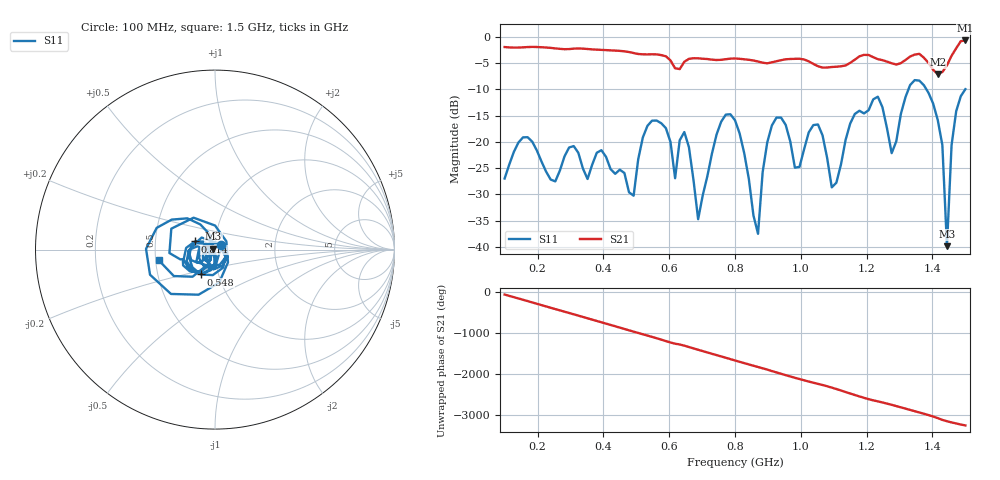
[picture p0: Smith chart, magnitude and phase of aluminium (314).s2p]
! NanoVNA-App
! Date: 2025-09-25 14:57:43
! Start: 100MHz Stop: 1,5GHz Points: 101
! S-Parameter data: F S11 S21 S12 S22
# Hz S RI R 50
!  Frequency  S11_Real  S11_Imag  S21_Real  S21_Imag  S12_Real  S12_Imag  S22_Real  S22_Imag
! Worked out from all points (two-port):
!   101 points, 100 MHz to 1.5 GHz, reference 50 ohm
!   highest |S21| = -0.67 dB at 1.5 GHz (marker M1); lowest = -7.1 dB at 1.416 GHz (marker M2)
!   |S21| within 3 dB of the highest: start of sweep to 588.9 MHz; 1.457 GHz to end of sweep (the widest 2 of 4)
!   lowest |S11| = -39.8 dB at 1.444 GHz (marker M3), VSWR 1.02, Z = 49.2 + j0.555 ohm
!   |S11| at or under -10 dB: start of sweep to 1.327 GHz; 1.382 GHz to 1.499 GHz (117.7 MHz wide, 8.17 % of centre)
!   S12 and S22 are empty: the file has one direction only
!   S11 on the Smith chart (normalised r, x): 100 MHz: 1.07, +0.06; 548 MHz: 0.82, -0.23; 814 MHz: 0.80, +0.07; 1.5 GHz: 0.52, -0.07
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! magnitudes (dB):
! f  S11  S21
! 100 MHz  -27.0  -1.9
! 338 MHz  -25.1  -2.2
! 492 MHz  -30.2  -3.1
! 548 MHz  -15.9  -3.3
! 576 MHz  -16.4  -3.5
! 618 MHz  -26.9  -6.0
! 646 MHz  -18.1  -4.7
! 688 MHz  -34.7  -4.1
! 800 MHz  -15.9  -4.1
! 814 MHz  -18.4  -4.2
! 870 MHz  -37.5  -4.7
! 912 MHz  -16.9  -4.8
! 982 MHz  -24.9  -4.2
! 1.038 GHz  -16.8  -5.1
! 1.094 GHz  -28.6  -5.7
! 1.234 GHz  -11.4  -4.2
! 1.276 GHz  -22.1  -5.0
! 1.346 GHz  -8.2  -3.4
! 1.416 GHz  -15.8  -7.1
! 1.444 GHz  -39.8  -5.4
! 1.458 GHz  -20.6  -3.6
! 1.5 GHz  -9.9  -0.7
